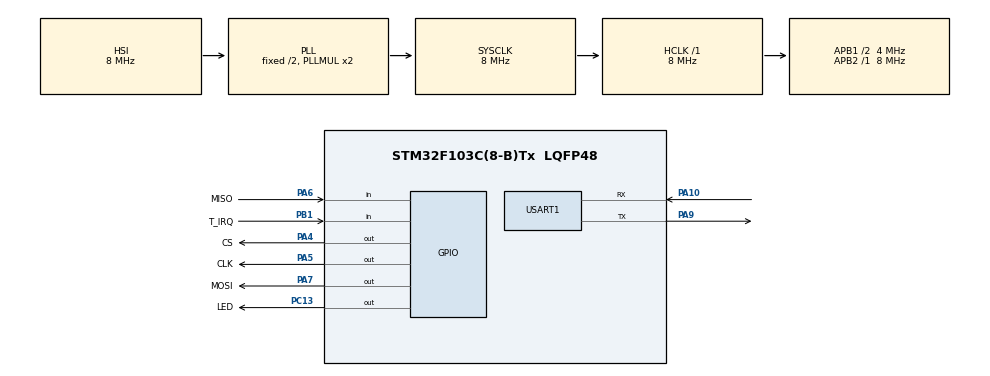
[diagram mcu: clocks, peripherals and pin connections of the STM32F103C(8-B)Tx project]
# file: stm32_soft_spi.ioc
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Mcu.Family=STM32F1
Mcu.Name=STM32F103C(8-B)Tx
Mcu.Package=LQFP48
NVIC.PriorityGroup=NVIC_PRIORITYGROUP_4
PA10.Mode=Asynchronous
PA10.Signal=USART1_RX
PA13.Mode=Serial_Wire
PA13.Signal=SYS_JTMS-SWDIO
PA14.Mode=Serial_Wire
PA14.Signal=SYS_JTCK-SWCLK
PA4.GPIO_Label=CS
PA4.Signal=GPIO_Output
PA5.GPIO_Label=CLK
PA5.Signal=GPIO_Output
PA6.GPIO_Label=MISO
PA6.Signal=GPIO_Input
PA7.GPIO_Label=MOSI
PA7.Signal=GPIO_Output
PA9.Mode=Asynchronous
PA9.Signal=USART1_TX
PB1.GPIO_Label=T_IRQ
PB1.Signal=GPIO_Input
PC13-TAMPER-RTC.GPIO_Label=LED
PC13-TAMPER-RTC.Signal=GPIO_Output
ProjectManager.HeapSize=0x200
ProjectManager.StackSize=0x400
ProjectManager.TargetToolchain=Makefile
RCC.ADCPresc=RCC_ADCPCLK2_DIV6
RCC.AHBFreq_Value=8000000
RCC.APB1CLKDivider=RCC_HCLK_DIV2
RCC.APB1Freq_Value=4000000
RCC.APB1TimFreq_Value=8000000
RCC.APB2Freq_Value=8000000
RCC.APB2TimFreq_Value=8000000
RCC.HCLKFreq_Value=8000000
RCC.SYSCLKFreq_VALUE=8000000
RCC.SYSCLKSource=RCC_SYSCLKSOURCE_PLLCLK
RCC.USBFreq_Value=8000000
USART1.VirtualMode=VM_ASYNC
board=stm32_soft_spi

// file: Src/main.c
/**
  ******************************************************************************
  * File Name          : main.c
  * Description        : Main program body
  ******************************************************************************
  ** This notice applies to any and all portions of this file
  * that are not between comment pairs USER CODE BEGIN and
  * USER CODE END. Other portions of this file, whether
  * inserted by the user or by software development tools
  * are owned by their respective copyright owners.
  *
  * COPYRIGHT(c) 2018 STMicroelectronics
  *
  * Redistribution and use in source and binary forms, with or without modification,
  * are permitted provided that the following conditions are met:
  *   1. Redistributions of source code must retain the above copyright notice,
  *      this list of conditions and the following disclaimer.
  *   2. Redistributions in binary form must reproduce the above copyright notice,
  *      this list of conditions and the following disclaimer in the documentation
  *      and/or other materials provided with the distribution.
  *   3. Neither the name of STMicroelectronics nor the names of its contributors
  *      may be used to endorse or promote products derived from this software
  *      without specific prior written permission.
  *
  * THIS SOFTWARE IS PROVIDED BY THE COPYRIGHT HOLDERS AND CONTRIBUTORS "AS IS"
  * AND ANY EXPRESS OR IMPLIED WARRANTIES, INCLUDING, BUT NOT LIMITED TO, THE
  * IMPLIED WARRANTIES OF MERCHANTABILITY AND FITNESS FOR A PARTICULAR PURPOSE ARE
  * DISCLAIMED. IN NO EVENT SHALL THE COPYRIGHT HOLDER OR CONTRIBUTORS BE LIABLE
  * FOR ANY DIRECT, INDIRECT, INCIDENTAL, SPECIAL, EXEMPLARY, OR CONSEQUENTIAL
  * DAMAGES (INCLUDING, BUT NOT LIMITED TO, PROCUREMENT OF SUBSTITUTE GOODS OR
  * SERVICES; LOSS OF USE, DATA, OR PROFITS; OR BUSINESS INTERRUPTION) HOWEVER
  * CAUSED AND ON ANY THEORY OF LIABILITY, WHETHER IN CONTRACT, STRICT LIABILITY,
  * OR TORT (INCLUDING NEGLIGENCE OR OTHERWISE) ARISING IN ANY WAY OUT OF THE USE
  * OF THIS SOFTWARE, EVEN IF ADVISED OF THE POSSIBILITY OF SUCH DAMAGE.
  *
  ******************************************************************************
  */
#include "main.h"
#include "stm32f1xx_hal.h"
#include "usart.h"
#include "gpio.h"

/* USER CODE BEGIN Includes */

#include "pins_ext.h"
#include "soft_spi.h"
#include "xpt2046.h"
#include "utoa.h"

/* USER CODE END Includes */

/* USER CODE BEGIN PV */
/* Private variables ---------------------------------------------------------*/

/* USER CODE END PV */

void SystemClock_Config(void);

/* USER CODE BEGIN PFP */
/* Private function prototypes -----------------------------------------------*/

/* USER CODE END PFP */

int main(void)
{

  /* MCU Configuration----------------------------------------------------------*/

  /* Reset of all peripherals, Initializes the Flash interface and the Systick. */
  HAL_Init();

  /* Configure the system clock */
  SystemClock_Config();

  /* Initialize all configured peripherals */
  MX_GPIO_Init();
  MX_USART1_UART_Init();

  /* USER CODE BEGIN 2 */

  // pin_read(GPIO_TypeDef* GPIOx, uint16_t GPIO_Pin);

  /* USER CODE END 2 */

  /* Infinite loop */
  /* USER CODE BEGIN WHILE */
  soft_spi_set_bit_order(SPI_MSB_FIRST);
  soft_spi_set_data_mode(SPI_MODE0);
  soft_spi_set_clock_divider(SPI_CLOCK_DIV128);

  //uint8_t str[] = "Hello";
  //uint8_t *str = {"Hello"};
  //uint8_t str[8] = {0};

  while (1)
  {
    // #pragma GCC diagnostic ignored "-Wunused-variable"
    // #pragma GCC diagnostic ignored "-Wunused-function"
    TS_Point p;

    get_point(&p); // get coordinates x y z from xpt2046

    /*
     * brief:
     * cleaning of old value
     * clean fields TS_Point:
     * str_x str_y str_z
     * also we will transform number to a line
     * value uint16_t p->x to string p->str_x
     */
    for(uint8_t i=0;i<8;i++){p.str_x[i]='\0';}
    for(uint8_t i=0;i<8;i++){p.str_y[i]='\0';}
    for(uint8_t i=0;i<8;i++){p.str_z[i]='\0';}
    /*
     * brief:
     * convert digit to string
     * see man: itoa utoa ltoa ultoa
     */
    utoa(p.x, p.str_x, 10);
    utoa(p.y, p.str_y, 10);
    utoa(p.z, p.str_z, 10);

    HAL_UART_Transmit(&huart1,"\nX: ",4,0xffff);
    HAL_UART_Transmit(&huart1,p.str_x,sizeof(p.str_x),0xffff);

    HAL_UART_Transmit(&huart1,"\t\tY: ",5,0xffff);
    HAL_UART_Transmit(&huart1,p.str_y,sizeof(p.str_y),0xffff);

    HAL_UART_Transmit(&huart1,"\t\tZ: ",5,0xffff);
    HAL_UART_Transmit(&huart1,p.str_z,sizeof(p.str_z),0xffff);

    /* if(p.y>2000)
     HAL_GPIO_WritePin(LED_GPIO_Port, LED_Pin, 1);
    else
     HAL_GPIO_WritePin(LED_GPIO_Port, LED_Pin, 0); */

    HAL_Delay(500);

  /* USER CODE END WHILE */

  }

}

/** System Clock Configuration
*/
void SystemClock_Config(void)
{

  RCC_OscInitTypeDef RCC_OscInitStruct;
  RCC_ClkInitTypeDef RCC_ClkInitStruct;

    /**Initializes the CPU, AHB and APB busses clocks
    */
  RCC_OscInitStruct.OscillatorType = RCC_OSCILLATORTYPE_HSI;
  RCC_OscInitStruct.HSIState = RCC_HSI_ON;
  RCC_OscInitStruct.HSICalibrationValue = 16;
  RCC_OscInitStruct.PLL.PLLState = RCC_PLL_ON;
  RCC_OscInitStruct.PLL.PLLSource = RCC_PLLSOURCE_HSI_DIV2;
  RCC_OscInitStruct.PLL.PLLMUL = RCC_PLL_MUL2;
  if (HAL_RCC_OscConfig(&RCC_OscInitStruct) != HAL_OK)
  {
    _Error_Handler(__FILE__, __LINE__);
  }

    /**Initializes the CPU, AHB and APB busses clocks
    */
  RCC_ClkInitStruct.ClockType = RCC_CLOCKTYPE_HCLK|RCC_CLOCKTYPE_SYSCLK
                              |RCC_CLOCKTYPE_PCLK1|RCC_CLOCKTYPE_PCLK2;
  RCC_ClkInitStruct.SYSCLKSource = RCC_SYSCLKSOURCE_PLLCLK;
  RCC_ClkInitStruct.AHBCLKDivider = RCC_SYSCLK_DIV1;
  RCC_ClkInitStruct.APB1CLKDivider = RCC_HCLK_DIV2;
  RCC_ClkInitStruct.APB2CLKDivider = RCC_HCLK_DIV1;

  if (HAL_RCC_ClockConfig(&RCC_ClkInitStruct, FLASH_LATENCY_0) != HAL_OK)
  {
    _Error_Handler(__FILE__, __LINE__);
  }

    /**Configure the Systick interrupt time
    */
  HAL_SYSTICK_Config(HAL_RCC_GetHCLKFreq()/1000);

    /**Configure the Systick
    */
  HAL_SYSTICK_CLKSourceConfig(SYSTICK_CLKSOURCE_HCLK);

  /* SysTick_IRQn interrupt configuration */
  HAL_NVIC_SetPriority(SysTick_IRQn, 0, 0);
}

void _Error_Handler(char * file, int line)
{
  while(1)
  {
  }
}

/************************ (C) COPYRIGHT STMicroelectronics *****END OF FILE****/
